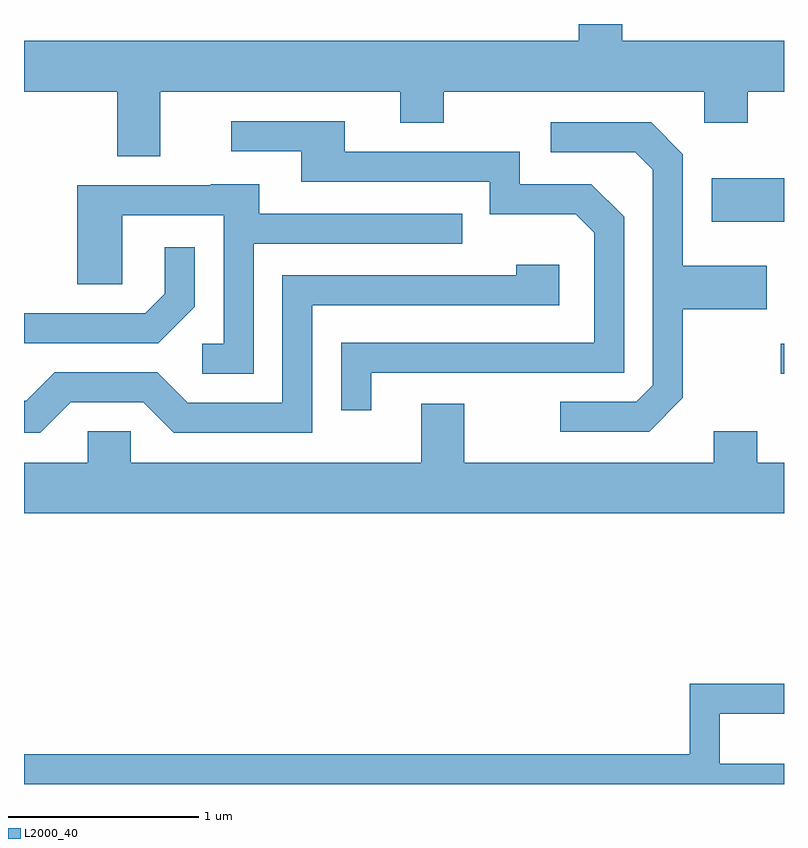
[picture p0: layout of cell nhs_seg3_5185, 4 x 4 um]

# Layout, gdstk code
import gdstk
lib = gdstk.Library(unit=1e-6, precision=1e-09)
def R(c, l, rs):  # rectangles x0, y0, x1, y1
    for r in rs: c.add(gdstk.rectangle(r[:2], r[2:], *l))
def P(c, l, *ps):  # polygons
    for p in ps: c.add(gdstk.Polygon(p, *l))
L2000_40 = (2000, 40)

nhs_seg3_5185 = lib.new_cell('nhs_seg3_5185')
R(nhs_seg3_5185, L2000_40, [(341.593,1160.051,341.611,1160.209), (341.231,1160.851,341.611,1161.079)])
P(nhs_seg3_5185, L2000_40, [(338.329,1161.536),(339.591,1161.536),(339.591,1161.371),(339.819,1161.371),(339.819,1161.536),(341.191,1161.536),(341.191,1161.371),(341.419,1161.371),(341.419,1161.536),(341.611,1161.536),(341.611,1161.804),(340.759,1161.804),(340.759,1161.892),(340.531,1161.892),(340.531,1161.804),(337.611,1161.804),(337.611,1161.536),(338.101,1161.536),(338.101,1161.196),(338.329,1161.196)],
  [(339.439,1160.056),(340.769,1160.056),(340.769,1160.877),(340.597,1161.049),(340.219,1161.049),(340.219,1161.219),(339.299,1161.219),(339.299,1161.379),(338.703,1161.379),(338.703,1161.221),(339.071,1161.221),(339.071,1161.061),(340.061,1161.061),(340.061,1160.891),(340.514,1160.891),(340.611,1160.794),(340.611,1160.214),(339.281,1160.214),(339.281,1159.858),(339.439,1159.858)],
  [(341.079,1159.924),(341.079,1160.391),(341.519,1160.391),(341.519,1160.619),(341.079,1160.619),(341.079,1161.207),(340.912,1161.374),(340.383,1161.374),(340.383,1161.216),(340.829,1161.216),(340.921,1161.124),(340.921,1159.992),(340.834,1159.904),(340.433,1159.904),(340.433,1159.746),(340.902,1159.746)],
  [(338.819,1160.736),(339.918,1160.736),(339.918,1160.894),(338.849,1160.894),(338.849,1161.049),(338.595,1161.049),(338.595,1161.044),(337.891,1161.044),(337.891,1160.521),(338.129,1160.521),(338.129,1160.886),(338.661,1160.886),(338.661,1160.209),(338.548,1160.209),(338.548,1160.051),(338.819,1160.051)],
  [(338.509,1160.404),(338.509,1160.718),(338.351,1160.718),(338.351,1160.472),(338.249,1160.369),(337.611,1160.369),(337.611,1160.211),(338.317,1160.211)],
  [(337.857,1159.901),(338.239,1159.901),(338.399,1159.741),(339.129,1159.741),(339.129,1160.411),(340.429,1160.411),(340.429,1160.624),(340.201,1160.624),(340.201,1160.569),(338.971,1160.569),(338.971,1159.899),(338.472,1159.899),(338.312,1160.059),(337.774,1160.059),(337.624,1159.909),(337.611,1159.909),(337.611,1159.741),(337.697,1159.741)],
  [(341.611,1159.584),(341.469,1159.584),(341.469,1159.749),(341.241,1159.749),(341.241,1159.584),(339.929,1159.584),(339.929,1159.894),(339.701,1159.894),(339.701,1159.584),(338.174,1159.584),(338.174,1159.749),(337.946,1159.749),(337.946,1159.584),(337.611,1159.584),(337.611,1159.316),(341.611,1159.316)],
  [(341.611,1157.999),(341.274,1157.999),(341.274,1158.261),(341.611,1158.261),(341.611,1158.419),(341.116,1158.419),(341.116,1158.049),(337.611,1158.049),(337.611,1157.892),(341.611,1157.892)])

lib.write_gds('nhs_seg3_5185.gds')
